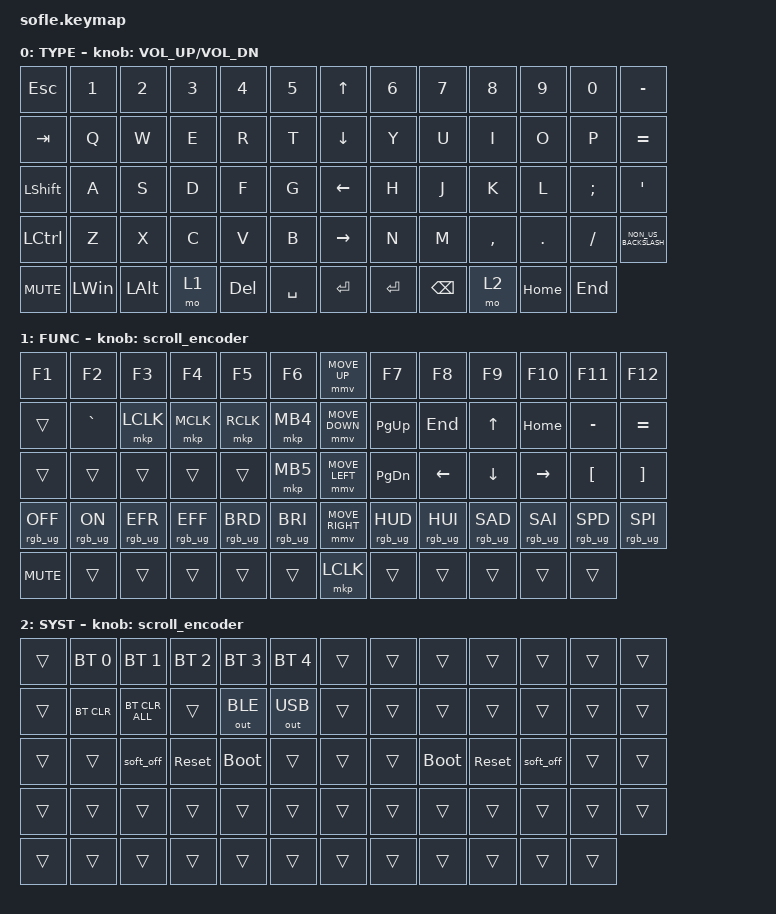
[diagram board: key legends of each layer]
//#include <behaviors/mouse_keys.dtsi>
#include <behaviors.dtsi>
#include <dt-bindings/zmk/bt.h>
#include <dt-bindings/zmk/keys.h>
#include <dt-bindings/zmk/mouse.h>
#include <dt-bindings/zmk/outputs.h>
#include <dt-bindings/zmk/rgb.h>

#define U_MS_U &mmv MOVE_UP
#define U_MS_D &mmv MOVE_DOWN
#define U_MS_L &mmv MOVE_LEFT
#define U_MS_R &mmv MOVE_RIGHT
#define ZMK_MOUSE_DEFAULT_MOVE_VAL 2000  //  600
#define ZMK_MOUSE_DEFAULT_SCRL_VAL 60    // 10

/ {
    behaviors {
        mmv {
            acceleration-exponent = <1>;      // 1
            time-to-max-speed-ms = <1000>;    // 40
            delay-ms = <0>;                   // 0
        };

        msc {
            acceleration-exponent = <1>;      // 0
            time-to-max-speed-ms = <400>;      // 500
            delay-ms = <0>;                   //   10
        };
    };

    scroll_encoder: scroll_encoder {
        compatible = "zmk,behavior-sensor-rotate";
        #sensor-binding-cells = <0>;
        bindings = <&msc SCRL_DOWN>, <&msc SCRL_UP>;

        tap-ms = <30>;
    };

    keymap {
        compatible = "zmk,keymap";

        layer_0 {
            bindings = <
&kp ESC           &kp N1        &kp N2        &kp N3  &kp N4   &kp N5       &kp UP_ARROW     &kp N6     &kp N7         &kp N8     &kp N9    &kp N0    &kp MINUS
&kp TAB           &kp Q         &kp W         &kp E   &kp R    &kp T        &kp DOWN_ARROW   &kp Y      &kp U          &kp I      &kp O     &kp P     &kp EQUAL
&kp LEFT_SHIFT    &kp A         &kp S         &kp D   &kp F    &kp G        &kp LEFT_ARROW   &kp H      &kp J          &kp K      &kp L     &kp SEMI  &kp SQT
&kp LEFT_CONTROL  &kp Z         &kp X         &kp C   &kp V    &kp B        &kp RIGHT_ARROW  &kp N      &kp M          &kp COMMA  &kp DOT   &kp FSLH  &kp NON_US_BACKSLASH
&kp C_MUTE        &kp LEFT_WIN  &kp LEFT_ALT  &mo 1   &kp DEL  &kp SPACE    &kp ENTER        &kp ENTER  &kp BACKSPACE  &mo 2      &kp HOME  &kp END
            >;

            sensor-bindings = <&inc_dec_kp C_VOLUME_UP C_VOL_DN>;
            display-name = "TYPE";
        };

        layer_1 {
            bindings = <
&kp F1           &kp F2          &kp F3           &kp F4           &kp F5           &kp F6             &mmv MOVE_UP     &kp F7           &kp F8           &kp F9           &kp F10          &kp F11           &kp F12
&trans           &kp GRAVE       &mkp LCLK        &mkp MCLK        &mkp RCLK        &mkp MB4           &mmv MOVE_DOWN   &kp PG_UP        &kp END          &kp UP           &kp HOME         &kp MINUS         &kp EQUAL
&trans           &trans          &trans           &trans           &trans           &mkp MB5           &mmv MOVE_LEFT   &kp PG_DN        &kp LEFT         &kp DOWN         &kp RIGHT        &kp LEFT_BRACKET  &kp RIGHT_BRACKET
&rgb_ug RGB_OFF  &rgb_ug RGB_ON  &rgb_ug RGB_EFR  &rgb_ug RGB_EFF  &rgb_ug RGB_BRD  &rgb_ug RGB_BRI    &mmv MOVE_RIGHT  &rgb_ug RGB_HUD  &rgb_ug RGB_HUI  &rgb_ug RGB_SAD  &rgb_ug RGB_SAI  &rgb_ug RGB_SPD   &rgb_ug RGB_SPI
&kp C_MUTE       &trans          &trans           &trans           &trans           &trans             &mkp LCLK        &trans           &trans           &trans           &trans           &trans
            >;

            display-name = "FUNC";
            sensor-bindings = <&scroll_encoder>;
        };

        layer_2 {
            bindings = <
&trans  &bt BT_SEL 0  &bt BT_SEL 1    &bt BT_SEL 2  &bt BT_SEL 3  &bt BT_SEL 4    &trans  &trans  &trans       &trans      &trans     &trans  &trans
&trans  &bt BT_CLR    &bt BT_CLR_ALL  &trans        &out OUT_BLE  &out OUT_USB    &trans  &trans  &trans       &trans      &trans     &trans  &trans
&trans  &trans        &soft_off       &sys_reset    &bootloader   &trans          &trans  &trans  &bootloader  &sys_reset  &soft_off  &trans  &trans
&trans  &trans        &trans          &trans        &trans        &trans          &trans  &trans  &trans       &trans      &trans     &trans  &trans
&trans  &trans        &trans          &trans        &trans        &trans          &trans  &trans  &trans       &trans      &trans     &trans
            >;

            sensor-bindings = <&scroll_encoder>;
            label = "SYST";
        };
    };
};
